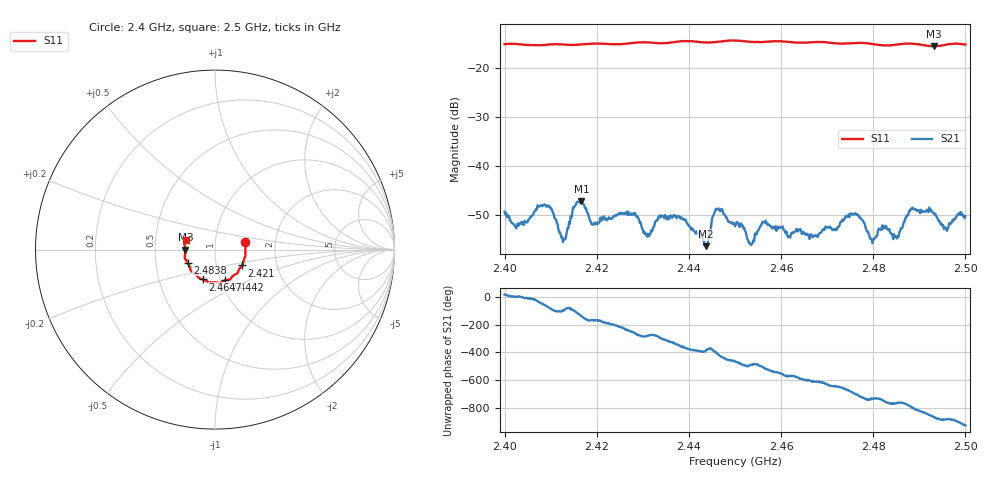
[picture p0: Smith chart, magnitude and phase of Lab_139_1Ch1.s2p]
# Hz S RI R
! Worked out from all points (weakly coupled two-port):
!   601 points, 2.4 GHz to 2.5 GHz, reference 50 ohm
!   highest |S21| = -47.13 dB at 2.4167 GHz (marker M1); lowest = -56.3 dB at 2.4437 GHz (marker M2)
!   lowest |S11| = -15.6 dB at 2.4932 GHz (marker M3), VSWR 1.40, Z = 35.8 - j0.0881 ohm
!   |S11| at or under -10 dB: start of sweep to end of sweep
!   S12 and S22 are empty: the file has one direction only
!   S11 on the Smith chart (normalised r, x): 2.4 GHz: 1.40, +0.12; 2.421 GHz: 1.33, -0.24; 2.4442 GHz: 1.05, -0.37; 2.4647 GHz: 0.83, -0.28; 2.4838 GHz: 0.73, -0.11; 2.5 GHz: 0.72, +0.08
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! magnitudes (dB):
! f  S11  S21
! 2.4 GHz  -15.2  -49.3
! 2.4093 GHz  -15.3  -48.2
! 2.4128 GHz  -15.3  -54.8
! 2.4167 GHz  -15.3  -47.1
! 2.421 GHz  -15.1  -51.1
! 2.428 GHz  -15.0  -49.6
! 2.431 GHz  -14.9  -54.4
! 2.4333 GHz  -15.0  -50.4
! 2.4437 GHz  -14.9  -56.3
! 2.4442 GHz  -14.9  -55.0
! 2.446 GHz  -14.8  -48.8
! 2.45 GHz  -14.5  -52.2
! 2.4533 GHz  -14.8  -55.9
! 2.4563 GHz  -14.8  -51.4
! 2.4647 GHz  -14.9  -53.7
! 2.4667 GHz  -14.8  -54.3
! 2.4757 GHz  -15.0  -49.8
! 2.4797 GHz  -15.2  -54.9
! 2.4833 GHz  -15.5  -53.0
! 2.4838 GHz  -15.5  -53.7
! 2.4932 GHz  -15.6  -49.5
! 2.5 GHz  -15.3  -50.2
